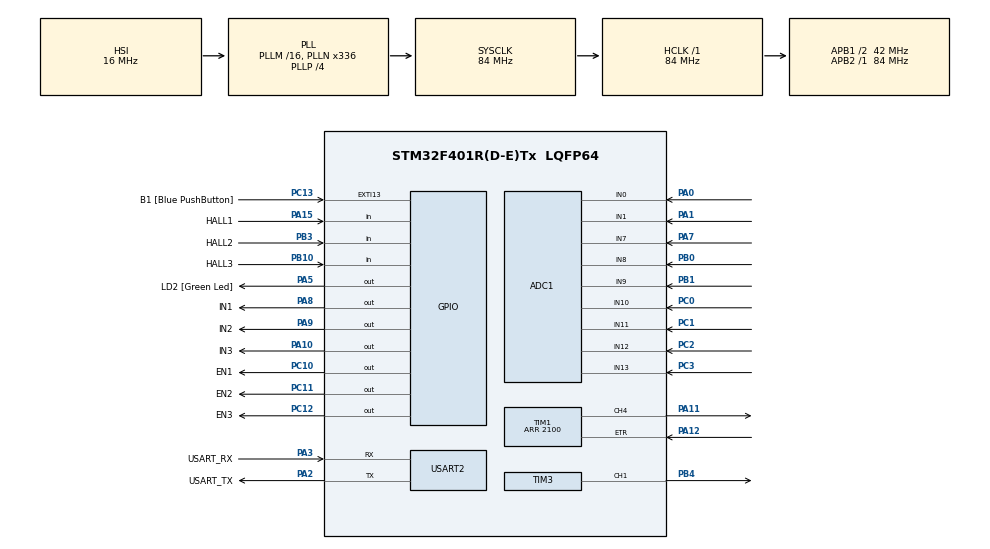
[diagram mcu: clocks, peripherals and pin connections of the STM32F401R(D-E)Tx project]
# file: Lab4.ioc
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ADC1.Channel-0\#ChannelRegularConversion=ADC_CHANNEL_9
ADC1.DMAContinuousRequests=ENABLE
ADC1.EOCSelection=ADC_EOC_SEQ_CONV
ADC1.ExternalTrigConv=ADC_EXTERNALTRIGCONV_T1_CC3
ADC1.ExternalTrigConvEdge=ADC_EXTERNALTRIGCONVEDGE_RISINGFALLING
ADC1.NbrOfConversion=1
ADC1.NbrOfConversionFlag=1
ADC1.Rank-0\#ChannelRegularConversion=1
ADC1.SamplingTime-0\#ChannelRegularConversion=ADC_SAMPLETIME_3CYCLES
ADC1.ScanConvMode=ENABLE
ADC1.master=1
Dma.ADC1.0.Direction=DMA_PERIPH_TO_MEMORY
Dma.ADC1.0.FIFOMode=DMA_FIFOMODE_DISABLE
Dma.ADC1.0.Instance=DMA2_Stream0
Dma.ADC1.0.MemDataAlignment=DMA_MDATAALIGN_HALFWORD
Dma.ADC1.0.MemInc=DMA_MINC_ENABLE
Dma.ADC1.0.Mode=DMA_CIRCULAR
Dma.ADC1.0.PeriphDataAlignment=DMA_PDATAALIGN_HALFWORD
Dma.ADC1.0.PeriphInc=DMA_PINC_DISABLE
Dma.ADC1.0.Priority=DMA_PRIORITY_LOW
Dma.Request0=ADC1
Mcu.Family=STM32F4
Mcu.Name=STM32F401R(D-E)Tx
Mcu.Package=LQFP64
Mcu.UserConstants=PERIPWM,2100
NVIC.DMA2_Stream0_IRQn=true\:0\:0\:false\:false\:true\:false\:true\:true
NVIC.PriorityGroup=NVIC_PRIORITYGROUP_4
PA0-WKUP.Signal=ADCx_IN0
PA1.Signal=ADCx_IN1
PA10.GPIO_Label=IN3
PA10.Signal=GPIO_Output
PA11.Signal=S_TIM1_CH4
PA12.Signal=S_TIM1_ETR
PA13.GPIO_Label=TMS
PA13.Signal=SYS_JTMS-SWDIO
PA14.GPIO_Label=TCK
PA14.Signal=SYS_JTCK-SWCLK
PA15.GPIO_Label=HALL1
PA15.Signal=GPIO_Input
PA2.GPIO_Label=USART_TX
PA2.GPIO_Mode=GPIO_MODE_AF_PP
PA2.GPIO_PuPd=GPIO_NOPULL
PA2.GPIO_Speed=GPIO_SPEED_FREQ_LOW
PA2.Mode=Asynchronous
PA2.Signal=USART2_TX
PA3.GPIO_Label=USART_RX
PA3.GPIO_Mode=GPIO_MODE_AF_PP
PA3.GPIO_PuPd=GPIO_NOPULL
PA3.GPIO_Speed=GPIO_SPEED_FREQ_LOW
PA3.Mode=Asynchronous
PA3.Signal=USART2_RX
PA5.GPIO_Label=LD2 [Green Led]
PA5.GPIO_Mode=GPIO_MODE_OUTPUT_PP
PA5.GPIO_PuPd=GPIO_NOPULL
PA5.GPIO_Speed=GPIO_SPEED_FREQ_LOW
PA5.Signal=GPIO_Output
PA7.Signal=ADCx_IN7
PA8.GPIO_Label=IN1
PA8.Signal=GPIO_Output
PA9.GPIO_Label=IN2
PA9.Signal=GPIO_Output
PB0.Signal=ADCx_IN8
PB1.Signal=ADCx_IN9
PB10.GPIO_Label=HALL3
PB10.Signal=GPIO_Input
PB13.Signal=TIM1_CH1N
PB14.Signal=TIM1_CH2N
PB3.GPIO_Label=HALL2
PB3.Signal=GPIO_Input
PB4.Signal=S_TIM3_CH1
PC0.Signal=ADCx_IN10
PC1.Signal=ADCx_IN11
PC10.GPIO_Label=EN1
PC10.Signal=GPIO_Output
PC11.GPIO_Label=EN2
PC11.Signal=GPIO_Output
PC12.GPIO_Label=EN3
PC12.Signal=GPIO_Output
PC13-ANTI_TAMP.GPIO_Label=B1 [Blue PushButton]
PC13-ANTI_TAMP.GPIO_ModeDefaultEXTI=GPIO_MODE_IT_FALLING
PC13-ANTI_TAMP.GPIO_PuPd=GPIO_NOPULL
PC13-ANTI_TAMP.Signal=GPXTI13
PC14-OSC32_IN.Mode=LSE-External-Oscillator
PC14-OSC32_IN.Signal=RCC_OSC32_IN
PC15-OSC32_OUT.Mode=LSE-External-Oscillator
PC15-OSC32_OUT.Signal=RCC_OSC32_OUT
PC2.Signal=ADCx_IN12
PC3.Signal=ADCx_IN13
PH0\ -\ OSC_IN.Mode=HSE-External-Clock-Source
PH0\ -\ OSC_IN.Signal=RCC_OSC_IN
PH1\ -\ OSC_OUT.Mode=HSE-External-Clock-Source
PH1\ -\ OSC_OUT.Signal=RCC_OSC_OUT
ProjectManager.HeapSize=0x200
ProjectManager.StackSize=0x400
ProjectManager.TargetToolchain=CMake
RCC.48MHZClocksFreq_Value=48000000
RCC.AHBFreq_Value=84000000
RCC.APB1CLKDivider=RCC_HCLK_DIV2
RCC.APB1Freq_Value=42000000
RCC.APB1TimFreq_Value=84000000
RCC.APB2Freq_Value=84000000
RCC.APB2TimFreq_Value=84000000
RCC.CortexFreq_Value=84000000
RCC.HCLKFreq_Value=84000000
RCC.HSE_VALUE=8000000
RCC.HSI_VALUE=16000000
RCC.PLLN=336
RCC.PLLP=RCC_PLLP_DIV4
RCC.PLLQ=7
RCC.SYSCLKFreq_VALUE=84000000
RCC.SYSCLKSource=RCC_SYSCLKSOURCE_PLLCLK
RCC.VCOOutputFreq_Value=336000000
SH.ADCx_IN0.0=ADC1_IN0,IN0
SH.ADCx_IN1.0=ADC1_IN1,IN1
SH.ADCx_IN10.0=ADC1_IN10,IN10
SH.ADCx_IN11.0=ADC1_IN11,IN11
SH.ADCx_IN12.0=ADC1_IN12,IN12
SH.ADCx_IN13.0=ADC1_IN13,IN13
SH.ADCx_IN7.0=ADC1_IN7,IN7
SH.ADCx_IN8.0=ADC1_IN8,IN8
SH.ADCx_IN9.0=ADC1_IN9,IN9
SH.S_TIM1_CH4.0=TIM1_CH4,PWM Generation4 CH4
SH.S_TIM1_ETR.0=TIM1_ETR,ETR-as-clearing-source
SH.S_TIM3_CH1.0=TIM3_CH1,PWM Generation1 CH1
TIM1.AutomaticOutput=TIM_AUTOMATICOUTPUT_ENABLE
TIM1.Channel-Output\ Compare3\ No\ Output=TIM_CHANNEL_3
TIM1.Channel-PWM\ Generation4\ CH4=TIM_CHANNEL_4
TIM1.ClearChannel4=TIM_CHANNEL_4
TIM1.CounterMode=TIM_COUNTERMODE_CENTERALIGNED1
TIM1.OCMode_3=TIM_OCMODE_TOGGLE
TIM1.Period=2100
TIM3.Channel-PWM\ Generation1\ CH1=TIM_CHANNEL_1
TIM3.CounterMode=TIM_COUNTERMODE_CENTERALIGNED1
TIM3.Period=PERIPWM
USART2.VirtualMode=VM_ASYNC
VP_TIM1_VS_ClockSourceINT.Mode=Internal
VP_TIM1_VS_no_output3.Mode=Output Compare3 No Output
VP_TIM3_VS_ClockSourceINT.Mode=Internal
board=NUCLEO-F401RE

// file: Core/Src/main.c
/* USER CODE BEGIN Header */
/**
  ******************************************************************************
  * @file           : main.c
  * @brief          : Main program body
  ******************************************************************************
  * @attention
  *
  * Copyright (c) 2026 STMicroelectronics.
  * All rights reserved.
  *
  * This software is licensed under terms that can be found in the LICENSE file
  * in the root directory of this software component.
  * If no LICENSE file comes with this software, it is provided AS-IS.
  *
  ******************************************************************************
  */
/* USER CODE END Header */
#include "main.h"

ADC_HandleTypeDef hadc1;
DMA_HandleTypeDef hdma_adc1;

TIM_HandleTypeDef htim1;
TIM_HandleTypeDef htim3;

UART_HandleTypeDef huart2;

void SystemClock_Config(void);
static void MX_GPIO_Init(void);
static void MX_DMA_Init(void);
static void MX_USART2_UART_Init(void);
static void MX_TIM1_Init(void);
static void MX_ADC1_Init(void);
static void MX_TIM3_Init(void);

/* USER CODE BEGIN 0 */
uint16_t resultats[1];
uint8_t enables[8] = {0, 5, 3, 6, 6, 3, 5, 0};
uint8_t inputs[8]  = {0, 1, 2, 2, 4, 1, 4, 0};

/* USER CODE END 0 */

int main(void)
{

  /* MCU Configuration--------------------------------------------------------*/

  /* Reset of all peripherals, Initializes the Flash interface and the Systick. */
  HAL_Init();

  /* Configure the system clock */
  SystemClock_Config();

  /* Initialize all configured peripherals */
  MX_GPIO_Init();
  MX_DMA_Init();
  MX_USART2_UART_Init();
  MX_TIM1_Init();
  MX_ADC1_Init();
  MX_TIM3_Init();
  /* USER CODE BEGIN 2 */

  HAL_TIM_OC_Start(&htim1, TIM_CHANNEL_3);
  HAL_ADC_Start_DMA(&hadc1, (uint32_t*)resultats, 1);

  HAL_TIM_PWM_Start(&htim3, TIM_CHANNEL_1);
  HAL_TIM_PWM_Start(&htim1, TIM_CHANNEL_4);

  /* USER CODE END 2 */

  /* Infinite loop */
  while (1)
  {

  }
}

void SystemClock_Config(void)
{
  RCC_OscInitTypeDef RCC_OscInitStruct = {0};
  RCC_ClkInitTypeDef RCC_ClkInitStruct = {0};

  /** Configure the main internal regulator output voltage
  */
  __HAL_RCC_PWR_CLK_ENABLE();
  __HAL_PWR_VOLTAGESCALING_CONFIG(PWR_REGULATOR_VOLTAGE_SCALE2);

  /** Initializes the RCC Oscillators according to the specified parameters
  * in the RCC_OscInitTypeDef structure.
  */
  RCC_OscInitStruct.OscillatorType = RCC_OSCILLATORTYPE_HSI;
  RCC_OscInitStruct.HSIState = RCC_HSI_ON;
  RCC_OscInitStruct.HSICalibrationValue = RCC_HSICALIBRATION_DEFAULT;
  RCC_OscInitStruct.PLL.PLLState = RCC_PLL_ON;
  RCC_OscInitStruct.PLL.PLLSource = RCC_PLLSOURCE_HSI;
  RCC_OscInitStruct.PLL.PLLM = 16;
  RCC_OscInitStruct.PLL.PLLN = 336;
  RCC_OscInitStruct.PLL.PLLP = RCC_PLLP_DIV4;
  RCC_OscInitStruct.PLL.PLLQ = 7;
  if (HAL_RCC_OscConfig(&RCC_OscInitStruct) != HAL_OK)
  {
    Error_Handler();
  }

  /** Initializes the CPU, AHB and APB buses clocks
  */
  RCC_ClkInitStruct.ClockType = RCC_CLOCKTYPE_HCLK|RCC_CLOCKTYPE_SYSCLK
                              |RCC_CLOCKTYPE_PCLK1|RCC_CLOCKTYPE_PCLK2;
  RCC_ClkInitStruct.SYSCLKSource = RCC_SYSCLKSOURCE_PLLCLK;
  RCC_ClkInitStruct.AHBCLKDivider = RCC_SYSCLK_DIV1;
  RCC_ClkInitStruct.APB1CLKDivider = RCC_HCLK_DIV2;
  RCC_ClkInitStruct.APB2CLKDivider = RCC_HCLK_DIV1;

  if (HAL_RCC_ClockConfig(&RCC_ClkInitStruct, FLASH_LATENCY_2) != HAL_OK)
  {
    Error_Handler();
  }
}

static void MX_ADC1_Init(void)
{

  ADC_ChannelConfTypeDef sConfig = {0};

  /** Configure the global features of the ADC (Clock, Resolution, Data Alignment and number of conversion)
  */
  hadc1.Instance = ADC1;
  hadc1.Init.ClockPrescaler = ADC_CLOCK_SYNC_PCLK_DIV4;
  hadc1.Init.Resolution = ADC_RESOLUTION_12B;
  hadc1.Init.ScanConvMode = ENABLE;
  hadc1.Init.ContinuousConvMode = DISABLE;
  hadc1.Init.DiscontinuousConvMode = DISABLE;
  hadc1.Init.ExternalTrigConvEdge = ADC_EXTERNALTRIGCONVEDGE_RISINGFALLING;
  hadc1.Init.ExternalTrigConv = ADC_EXTERNALTRIGCONV_T1_CC3;
  hadc1.Init.DataAlign = ADC_DATAALIGN_RIGHT;
  hadc1.Init.NbrOfConversion = 1;
  hadc1.Init.DMAContinuousRequests = ENABLE;
  hadc1.Init.EOCSelection = ADC_EOC_SEQ_CONV;
  if (HAL_ADC_Init(&hadc1) != HAL_OK)
  {
    Error_Handler();
  }

  /** Configure for the selected ADC regular channel its corresponding rank in the sequencer and its sample time.
  */
  sConfig.Channel = ADC_CHANNEL_9;
  sConfig.Rank = 1;
  sConfig.SamplingTime = ADC_SAMPLETIME_3CYCLES;
  if (HAL_ADC_ConfigChannel(&hadc1, &sConfig) != HAL_OK)
  {
    Error_Handler();
  }

}

static void MX_TIM1_Init(void)
{

  TIM_ClockConfigTypeDef sClockSourceConfig = {0};
  TIM_MasterConfigTypeDef sMasterConfig = {0};
  TIM_OC_InitTypeDef sConfigOC = {0};
  TIM_ClearInputConfigTypeDef sClearInputConfig = {0};
  TIM_BreakDeadTimeConfigTypeDef sBreakDeadTimeConfig = {0};

  htim1.Instance = TIM1;
  htim1.Init.Prescaler = 0;
  htim1.Init.CounterMode = TIM_COUNTERMODE_CENTERALIGNED1;
  htim1.Init.Period = 2100;
  htim1.Init.ClockDivision = TIM_CLOCKDIVISION_DIV1;
  htim1.Init.RepetitionCounter = 0;
  htim1.Init.AutoReloadPreload = TIM_AUTORELOAD_PRELOAD_DISABLE;
  if (HAL_TIM_Base_Init(&htim1) != HAL_OK)
  {
    Error_Handler();
  }
  sClockSourceConfig.ClockSource = TIM_CLOCKSOURCE_INTERNAL;
  if (HAL_TIM_ConfigClockSource(&htim1, &sClockSourceConfig) != HAL_OK)
  {
    Error_Handler();
  }
  if (HAL_TIM_OC_Init(&htim1) != HAL_OK)
  {
    Error_Handler();
  }
  if (HAL_TIM_PWM_Init(&htim1) != HAL_OK)
  {
    Error_Handler();
  }
  sMasterConfig.MasterOutputTrigger = TIM_TRGO_RESET;
  sMasterConfig.MasterSlaveMode = TIM_MASTERSLAVEMODE_DISABLE;
  if (HAL_TIMEx_MasterConfigSynchronization(&htim1, &sMasterConfig) != HAL_OK)
  {
    Error_Handler();
  }
  sConfigOC.OCMode = TIM_OCMODE_TOGGLE;
  sConfigOC.Pulse = 0;
  sConfigOC.OCPolarity = TIM_OCPOLARITY_HIGH;
  sConfigOC.OCNPolarity = TIM_OCNPOLARITY_HIGH;
  sConfigOC.OCFastMode = TIM_OCFAST_DISABLE;
  sConfigOC.OCIdleState = TIM_OCIDLESTATE_RESET;
  sConfigOC.OCNIdleState = TIM_OCNIDLESTATE_RESET;
  if (HAL_TIM_OC_ConfigChannel(&htim1, &sConfigOC, TIM_CHANNEL_3) != HAL_OK)
  {
    Error_Handler();
  }
  sConfigOC.OCMode = TIM_OCMODE_PWM1;
  if (HAL_TIM_PWM_ConfigChannel(&htim1, &sConfigOC, TIM_CHANNEL_4) != HAL_OK)
  {
    Error_Handler();
  }
  sClearInputConfig.ClearInputState = ENABLE;
  sClearInputConfig.ClearInputSource = TIM_CLEARINPUTSOURCE_ETR;
  sClearInputConfig.ClearInputPolarity = TIM_CLEARINPUTPOLARITY_NONINVERTED;
  sClearInputConfig.ClearInputPrescaler = TIM_CLEARINPUTPRESCALER_DIV1;
  sClearInputConfig.ClearInputFilter = 0;
  if (HAL_TIM_ConfigOCrefClear(&htim1, &sClearInputConfig, TIM_CHANNEL_4) != HAL_OK)
  {
    Error_Handler();
  }
  sBreakDeadTimeConfig.OffStateRunMode = TIM_OSSR_DISABLE;
  sBreakDeadTimeConfig.OffStateIDLEMode = TIM_OSSI_DISABLE;
  sBreakDeadTimeConfig.LockLevel = TIM_LOCKLEVEL_OFF;
  sBreakDeadTimeConfig.DeadTime = 0;
  sBreakDeadTimeConfig.BreakState = TIM_BREAK_DISABLE;
  sBreakDeadTimeConfig.BreakPolarity = TIM_BREAKPOLARITY_HIGH;
  sBreakDeadTimeConfig.AutomaticOutput = TIM_AUTOMATICOUTPUT_ENABLE;
  if (HAL_TIMEx_ConfigBreakDeadTime(&htim1, &sBreakDeadTimeConfig) != HAL_OK)
  {
    Error_Handler();
  }
  HAL_TIM_MspPostInit(&htim1);

}

static void MX_TIM3_Init(void)
{

  TIM_ClockConfigTypeDef sClockSourceConfig = {0};
  TIM_MasterConfigTypeDef sMasterConfig = {0};
  TIM_OC_InitTypeDef sConfigOC = {0};

  htim3.Instance = TIM3;
  htim3.Init.Prescaler = 0;
  htim3.Init.CounterMode = TIM_COUNTERMODE_CENTERALIGNED1;
  htim3.Init.Period = PERIPWM;
  htim3.Init.ClockDivision = TIM_CLOCKDIVISION_DIV1;
  htim3.Init.AutoReloadPreload = TIM_AUTORELOAD_PRELOAD_DISABLE;
  if (HAL_TIM_Base_Init(&htim3) != HAL_OK)
  {
    Error_Handler();
  }
  sClockSourceConfig.ClockSource = TIM_CLOCKSOURCE_INTERNAL;
  if (HAL_TIM_ConfigClockSource(&htim3, &sClockSourceConfig) != HAL_OK)
  {
    Error_Handler();
  }
  if (HAL_TIM_PWM_Init(&htim3) != HAL_OK)
  {
    Error_Handler();
  }
  sMasterConfig.MasterOutputTrigger = TIM_TRGO_RESET;
  sMasterConfig.MasterSlaveMode = TIM_MASTERSLAVEMODE_DISABLE;
  if (HAL_TIMEx_MasterConfigSynchronization(&htim3, &sMasterConfig) != HAL_OK)
  {
    Error_Handler();
  }
  sConfigOC.OCMode = TIM_OCMODE_PWM1;
  sConfigOC.Pulse = 0;
  sConfigOC.OCPolarity = TIM_OCPOLARITY_HIGH;
  sConfigOC.OCFastMode = TIM_OCFAST_DISABLE;
  if (HAL_TIM_PWM_ConfigChannel(&htim3, &sConfigOC, TIM_CHANNEL_1) != HAL_OK)
  {
    Error_Handler();
  }
  HAL_TIM_MspPostInit(&htim3);

}

static void MX_USART2_UART_Init(void)
{

  huart2.Instance = USART2;
  huart2.Init.BaudRate = 115200;
  huart2.Init.WordLength = UART_WORDLENGTH_8B;
  huart2.Init.StopBits = UART_STOPBITS_1;
  huart2.Init.Parity = UART_PARITY_NONE;
  huart2.Init.Mode = UART_MODE_TX_RX;
  huart2.Init.HwFlowCtl = UART_HWCONTROL_NONE;
  huart2.Init.OverSampling = UART_OVERSAMPLING_16;
  if (HAL_UART_Init(&huart2) != HAL_OK)
  {
    Error_Handler();
  }

}

static void MX_DMA_Init(void)
{

  /* DMA controller clock enable */
  __HAL_RCC_DMA2_CLK_ENABLE();

  /* DMA interrupt init */
  /* DMA2_Stream0_IRQn interrupt configuration */
  HAL_NVIC_SetPriority(DMA2_Stream0_IRQn, 0, 0);
  HAL_NVIC_EnableIRQ(DMA2_Stream0_IRQn);

}

static void MX_GPIO_Init(void)
{
  GPIO_InitTypeDef GPIO_InitStruct = {0};

  /* GPIO Ports Clock Enable */
  __HAL_RCC_GPIOC_CLK_ENABLE();
  __HAL_RCC_GPIOH_CLK_ENABLE();
  __HAL_RCC_GPIOA_CLK_ENABLE();
  __HAL_RCC_GPIOB_CLK_ENABLE();

  /*Configure GPIO pin Output Level */
  HAL_GPIO_WritePin(GPIOA, LD2_Pin|IN1_Pin|IN2_Pin|IN3_Pin, GPIO_PIN_RESET);

  /*Configure GPIO pin Output Level */
  HAL_GPIO_WritePin(GPIOC, EN1_Pin|EN2_Pin|EN3_Pin, GPIO_PIN_RESET);

  /*Configure GPIO pin : B1_Pin */
  GPIO_InitStruct.Pin = B1_Pin;
  GPIO_InitStruct.Mode = GPIO_MODE_IT_FALLING;
  GPIO_InitStruct.Pull = GPIO_NOPULL;
  HAL_GPIO_Init(B1_GPIO_Port, &GPIO_InitStruct);

  /*Configure GPIO pins : LD2_Pin IN1_Pin IN2_Pin IN3_Pin */
  GPIO_InitStruct.Pin = LD2_Pin|IN1_Pin|IN2_Pin|IN3_Pin;
  GPIO_InitStruct.Mode = GPIO_MODE_OUTPUT_PP;
  GPIO_InitStruct.Pull = GPIO_NOPULL;
  GPIO_InitStruct.Speed = GPIO_SPEED_FREQ_LOW;
  HAL_GPIO_Init(GPIOA, &GPIO_InitStruct);

  /*Configure GPIO pins : HALL3_Pin HALL2_Pin */
  GPIO_InitStruct.Pin = HALL3_Pin|HALL2_Pin;
  GPIO_InitStruct.Mode = GPIO_MODE_INPUT;
  GPIO_InitStruct.Pull = GPIO_NOPULL;
  HAL_GPIO_Init(GPIOB, &GPIO_InitStruct);

  /*Configure GPIO pin : HALL1_Pin */
  GPIO_InitStruct.Pin = HALL1_Pin;
  GPIO_InitStruct.Mode = GPIO_MODE_INPUT;
  GPIO_InitStruct.Pull = GPIO_NOPULL;
  HAL_GPIO_Init(HALL1_GPIO_Port, &GPIO_InitStruct);

  /*Configure GPIO pins : EN1_Pin EN2_Pin EN3_Pin */
  GPIO_InitStruct.Pin = EN1_Pin|EN2_Pin|EN3_Pin;
  GPIO_InitStruct.Mode = GPIO_MODE_OUTPUT_PP;
  GPIO_InitStruct.Pull = GPIO_NOPULL;
  GPIO_InitStruct.Speed = GPIO_SPEED_FREQ_LOW;
  HAL_GPIO_Init(GPIOC, &GPIO_InitStruct);

}

/* USER CODE BEGIN 4 */
void HAL_ADC_ConvCpltCallback(ADC_HandleTypeDef* hadc)
{
  static uint16_t counter = 0;
  if (counter == 20000){
    HAL_GPIO_TogglePin(LD2_GPIO_Port, LD2_Pin);
    counter = 0;
  }

  counter++;
  uint32_t taux = ((uint32_t)resultats[0] * PERIPWM) >> 12;

  uint32_t hall = (HAL_GPIO_ReadPin(HALL3_GPIO_Port, HALL3_Pin) << 2) |
                  (HAL_GPIO_ReadPin(HALL2_GPIO_Port, HALL2_Pin) << 1) |
                  (HAL_GPIO_ReadPin(HALL1_GPIO_Port, HALL1_Pin) << 0);

  HAL_GPIO_WritePin(EN3_GPIO_Port, EN3_Pin, (enables[hall]>>2) & 0x01);
  HAL_GPIO_WritePin(EN2_GPIO_Port, EN2_Pin, (enables[hall]>>1) & 0x01);
  HAL_GPIO_WritePin(EN1_GPIO_Port, EN1_Pin, (enables[hall]>>0) & 0x01);

  HAL_GPIO_WritePin(IN3_GPIO_Port, IN3_Pin, (inputs[hall]>>2) & 0x01);
  HAL_GPIO_WritePin(IN2_GPIO_Port, IN2_Pin, (inputs[hall]>>1) & 0x01);
  HAL_GPIO_WritePin(IN1_GPIO_Port, IN1_Pin, (inputs[hall]>>0) & 0x01);

  //---------- Regulateur de courant ----------
  //TIM3->CCR1 = taux;
  //TIM1->CCR4 = PERIPWM;

  //---------- Regulateur de tension ----------
  TIM3->CCR1 = PERIPWM;
  TIM1->CCR4 = taux;
}
/* USER CODE END 4 */

void Error_Handler(void)
{
  __disable_irq();
  while (1)
  {
  }
}
